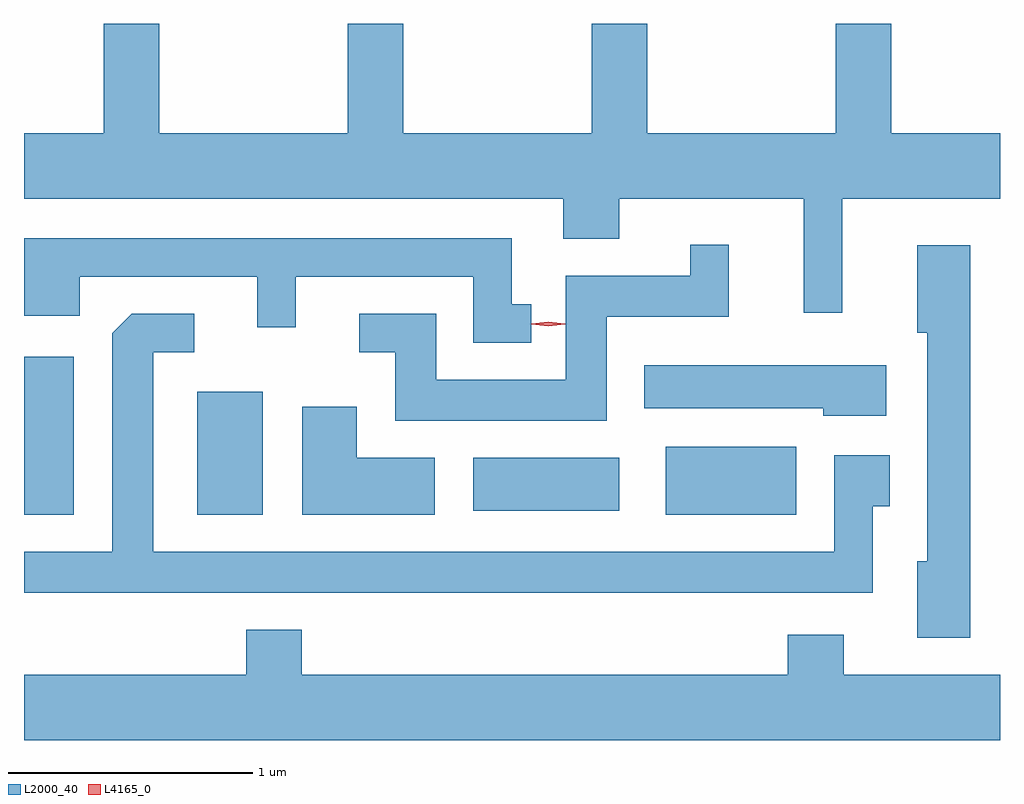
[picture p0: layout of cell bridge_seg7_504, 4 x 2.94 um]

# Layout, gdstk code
import gdstk
lib = gdstk.Library(unit=1e-6, precision=1e-09)
def R(c, l, rs):  # rectangles x0, y0, x1, y1
    for r in rs: c.add(gdstk.rectangle(r[:2], r[2:], *l))
def P(c, l, *ps):  # polygons
    for p in ps: c.add(gdstk.Polygon(p, *l))
L2000_40 = (2000, 40)
L4165_0 = (4165, 0)

bridge_seg7_504 = lib.new_cell('bridge_seg7_504')
R(bridge_seg7_504, L2000_40, [(1339.38,1708.581,1339.584,1709.229), (1340.091,1708.581,1340.359,1709.084), (1342.011,1708.581,1342.544,1708.859), (1341.221,1708.596,1341.819,1708.814)])
P(bridge_seg7_504, L2000_40, [(1341.591,1709.711),(1341.819,1709.711),(1341.819,1709.876),(1342.576,1709.876),(1342.576,1709.408),(1342.734,1709.408),(1342.734,1709.876),(1343.38,1709.876),(1343.38,1710.144),(1342.934,1710.144),(1342.934,1710.593),(1342.706,1710.593),(1342.706,1710.144),(1341.934,1710.144),(1341.934,1710.593),(1341.706,1710.593),(1341.706,1710.144),(1340.934,1710.144),(1340.934,1710.593),(1340.706,1710.593),(1340.706,1710.144),(1339.934,1710.144),(1339.934,1710.593),(1339.706,1710.593),(1339.706,1710.144),(1339.38,1710.144),(1339.38,1709.876),(1341.591,1709.876)],
  [(1341.458,1709.444),(1341.379,1709.444),(1341.379,1709.714),(1339.381,1709.714),(1339.381,1709.396),(1339.609,1709.396),(1339.609,1709.556),(1340.336,1709.556),(1340.336,1709.348),(1340.494,1709.348),(1340.494,1709.556),(1341.221,1709.556),(1341.221,1709.286),(1341.458,1709.286)],
  [(1341.769,1709.391),(1342.269,1709.391),(1342.269,1709.688),(1342.111,1709.688),(1342.111,1709.559),(1341.601,1709.559),(1341.601,1709.134),(1341.069,1709.134),(1341.069,1709.404),(1340.753,1709.404),(1340.753,1709.246),(1340.901,1709.246),(1340.901,1708.966),(1341.769,1708.966)],
  [(1343.259,1709.684),(1343.041,1709.684),(1343.041,1709.326),(1343.081,1709.326),(1343.081,1708.389),(1343.041,1708.389),(1343.041,1708.076),(1343.259,1708.076)],
  [(1342.859,1708.616),(1342.929,1708.616),(1342.929,1708.824),(1342.701,1708.824),(1342.701,1708.429),(1339.909,1708.429),(1339.909,1709.246),(1340.078,1709.246),(1340.078,1709.404),(1339.822,1709.404),(1339.741,1709.324),(1339.741,1708.429),(1339.38,1708.429),(1339.38,1708.261),(1342.859,1708.261)],
  [(1342.914,1709.194),(1341.921,1709.194),(1341.921,1709.016),(1342.656,1709.016),(1342.656,1708.986),(1342.914,1708.986)],
  [(1341.064,1708.814),(1340.744,1708.814),(1340.744,1709.024),(1340.521,1709.024),(1340.521,1708.581),(1341.064,1708.581)],
  [(1343.38,1707.924),(1342.739,1707.924),(1342.739,1708.089),(1342.511,1708.089),(1342.511,1707.924),(1340.519,1707.924),(1340.519,1708.109),(1340.291,1708.109),(1340.291,1707.924),(1339.38,1707.924),(1339.38,1707.656),(1343.38,1707.656)])
P(bridge_seg7_504, L4165_0, [(1341.528,1709.352),(1341.459,1709.362),(1341.459,1709.363),(1341.459,1709.363),(1341.528,1709.372),(1341.598,1709.363),(1341.598,1709.362),(1341.598,1709.362)])

lib.write_gds('bridge_seg7_504.gds')
